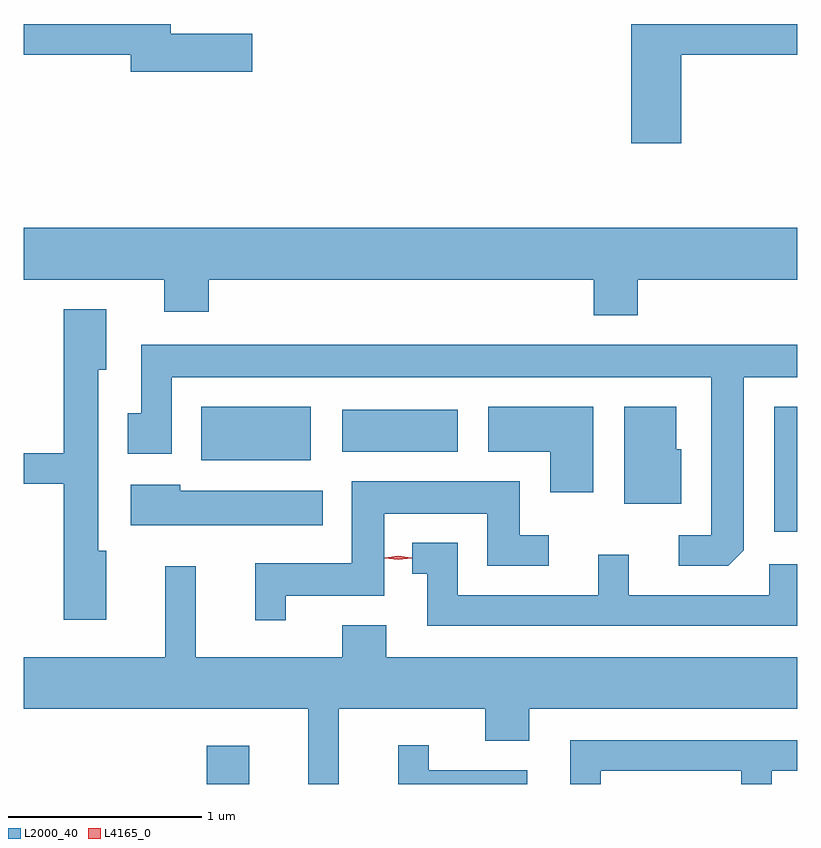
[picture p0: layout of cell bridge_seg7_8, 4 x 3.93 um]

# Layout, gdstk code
import gdstk
lib = gdstk.Library(unit=1e-6, precision=1e-09)
def R(c, l, rs):  # rectangles x0, y0, x1, y1
    for r in rs: c.add(gdstk.rectangle(r[:2], r[2:], *l))
def P(c, l, *ps):  # polygons
    for p in ps: c.add(gdstk.Polygon(p, *l))
L2000_40 = (2000, 40)
L4165_0 = (4165, 0)

bridge_seg7_8 = lib.new_cell('bridge_seg7_8')
R(bridge_seg7_8, L2000_40, [(1686.781,1793.847,1686.999,1794.044), (1689.716,1795.151,1689.834,1795.799), (1686.751,1795.521,1687.319,1795.799), (1687.481,1795.566,1688.079,1795.784)])
P(bridge_seg7_8, L2000_40, [(1689.234,1797.621),(1689.834,1797.621),(1689.834,1797.779),(1688.976,1797.779),(1688.976,1797.161),(1689.234,1797.161)],
  [(1687.014,1797.729),(1686.594,1797.729),(1686.594,1797.779),(1685.834,1797.779),(1685.834,1797.621),(1686.386,1797.621),(1686.386,1797.531),(1687.014,1797.531)],
  [(1689.009,1796.456),(1689.834,1796.456),(1689.834,1796.724),(1685.834,1796.724),(1685.834,1796.456),(1686.561,1796.456),(1686.561,1796.291),(1686.789,1796.291),(1686.789,1796.456),(1688.781,1796.456),(1688.781,1796.271),(1689.009,1796.271)],
  [(1686.259,1795.054),(1686.219,1795.054),(1686.219,1795.991),(1686.259,1795.991),(1686.259,1796.304),(1686.041,1796.304),(1686.041,1795.559),(1685.834,1795.559),(1685.834,1795.401),(1686.041,1795.401),(1686.041,1794.696),(1686.259,1794.696)],
  [(1689.559,1795.057),(1689.559,1795.951),(1689.834,1795.951),(1689.834,1796.119),(1686.441,1796.119),(1686.441,1795.764),(1686.371,1795.764),(1686.371,1795.556),(1686.599,1795.556),(1686.599,1795.951),(1689.391,1795.951),(1689.391,1795.134),(1689.223,1795.134),(1689.223,1794.976),(1689.479,1794.976)],
  [(1688.779,1795.799),(1688.236,1795.799),(1688.236,1795.566),(1688.556,1795.566),(1688.556,1795.356),(1688.779,1795.356)],
  [(1689.234,1795.579),(1689.209,1795.579),(1689.209,1795.799),(1688.941,1795.799),(1688.941,1795.296),(1689.234,1795.296)],
  [(1687.189,1794.821),(1687.699,1794.821),(1687.699,1795.246),(1688.231,1795.246),(1688.231,1794.976),(1688.548,1794.976),(1688.548,1795.134),(1688.399,1795.134),(1688.399,1795.414),(1687.531,1795.414),(1687.531,1794.989),(1687.031,1794.989),(1687.031,1794.693),(1687.189,1794.693)],
  [(1687.379,1795.364),(1686.644,1795.364),(1686.644,1795.394),(1686.386,1795.394),(1686.386,1795.186),(1687.379,1795.186)],
  [(1689.834,1794.984),(1689.691,1794.984),(1689.691,1794.824),(1688.964,1794.824),(1688.964,1795.033),(1688.806,1795.033),(1688.806,1794.824),(1688.079,1794.824),(1688.079,1795.094),(1687.843,1795.094),(1687.843,1794.936),(1687.921,1794.936),(1687.921,1794.666),(1689.834,1794.666)],
  [(1687.464,1794.236),(1688.221,1794.236),(1688.221,1794.071),(1688.449,1794.071),(1688.449,1794.236),(1689.834,1794.236),(1689.834,1794.504),(1687.709,1794.504),(1687.709,1794.669),(1687.481,1794.669),(1687.481,1794.504),(1686.724,1794.504),(1686.724,1794.973),(1686.566,1794.973),(1686.566,1794.504),(1685.834,1794.504),(1685.834,1794.236),(1687.306,1794.236),(1687.306,1793.847),(1687.464,1793.847)],
  [(1688.819,1793.916),(1689.546,1793.916),(1689.546,1793.847),(1689.704,1793.847),(1689.704,1793.916),(1689.834,1793.916),(1689.834,1794.074),(1688.661,1794.074),(1688.661,1793.847),(1688.819,1793.847)],
  [(1688.439,1793.919),(1687.929,1793.919),(1687.929,1794.048),(1687.771,1794.048),(1687.771,1793.847),(1688.439,1793.847)])
P(bridge_seg7_8, L4165_0, [(1687.771,1795.007),(1687.702,1795.016),(1687.702,1795.017),(1687.702,1795.017),(1687.771,1795.027),(1687.841,1795.017),(1687.841,1795.016),(1687.841,1795.016)])

lib.write_gds('bridge_seg7_8.gds')
